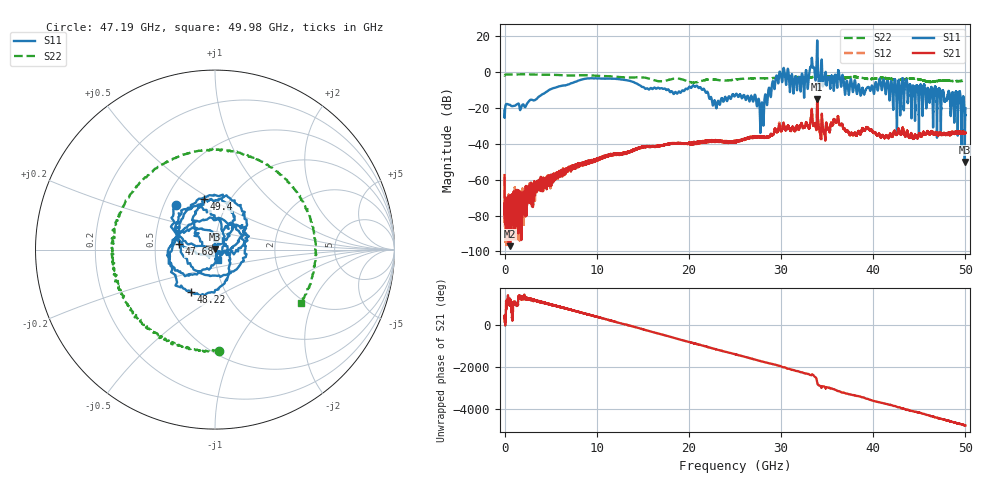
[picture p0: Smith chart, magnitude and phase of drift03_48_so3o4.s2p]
!Created with skrf (http://scikit-rf.org).
# Hz S RI R 50.0
!freq ReS11 ImS11 ReS21 ImS21 ReS12 ImS12 ReS22 ImS22
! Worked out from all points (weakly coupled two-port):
!   10001 points, 300 kHz to 50 GHz, reference 50 ohm
!   highest |S21| = -15.14 dB at 33.92 GHz (marker M1); lowest = -97.1 dB at 605.3 MHz (marker M2)
!   lowest |S11| = -50.2 dB at 49.94 GHz (marker M3), VSWR 1.01, Z = 50.1 + j0.296 ohm
!   |S11| at or under -10 dB: start of sweep to 4.849 GHz; 21.69 GHz to 28.62 GHz (6.936 GHz wide, 27.6 % of centre); 47.2 GHz to end of sweep (the widest 3 of 45)
!   |S22| runs from -5.9 to -1.3 dB; largest |S21 - S12| = 0.019
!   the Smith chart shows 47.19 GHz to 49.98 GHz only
!   S11 on the Smith chart (normalised r, x): 47.19 GHz: 0.58, +0.33; 47.68 GHz: 0.67, +0.04; 48.22 GHz: 0.69, -0.35; 49.4 GHz: 0.76, +0.46; 49.98 GHz: 1.02, -0.12
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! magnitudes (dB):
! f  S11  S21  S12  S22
! 300 kHz  -21.5  -57.5  -58.6  -2.0
! 255.3 MHz  -17.9  -70.7  -77.9  -1.4
! 605.3 MHz  -18.5  -97.1  -71.1  -1.5
! 8.335 GHz  -4.3  -51.1  -51.3  -1.9
! 16.67 GHz  -8.8  -41.3  -41.3  -5.2
! 21.01 GHz  -8.7  -39.1  -39.2  -5.5
! 22.81 GHz  -16.1  -39.1  -38.5  -4.2
! 25 GHz  -13.4  -38.6  -38.5  -4.3
! 27.92 GHz  -17.1  -36.4  -36.4  -3.5
! 29.69 GHz  -6.4  -32.1  -31.7  -3.1
! 32.32 GHz  -1.5  -30.4  -30.6  -3.3
! 33.34 GHz  7.8  -20.6  -21.0  -2.9
! 33.92 GHz  17.5  -15.1  -15.5  -2.5
! 38.82 GHz  -9.0  -31.2  -31.7  -3.4
! 41.67 GHz  -9.0  -36.7  -36.9  -3.6
! 47.19 GHz  -9.6  -34.1  -34.0  -5.0
! 47.68 GHz  -13.9  -34.0  -34.2  -4.8
! 48.22 GHz  -11.3  -34.5  -34.2  -4.9
! 49.4 GHz  -10.8  -34.1  -33.3  -5.1
! 49.94 GHz  -50.2  -33.8  -34.1  -5.0
! 49.98 GHz  -24.5  -33.6  -34.2  -5.0
! 50 GHz  -20.2  -34.0  -34.3  -5.0
